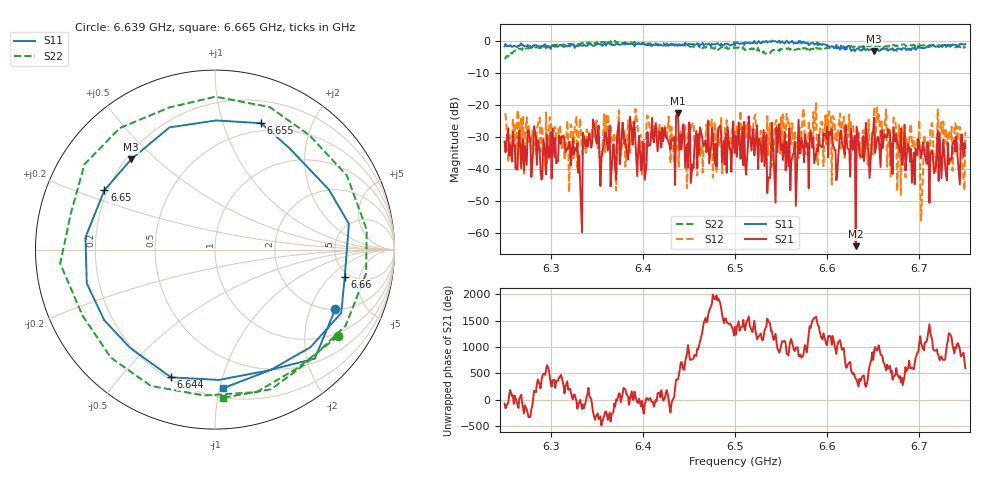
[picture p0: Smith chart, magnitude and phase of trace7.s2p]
# Hz S RI R 50
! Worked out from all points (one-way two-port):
!   401 points, 6.25 GHz to 6.75 GHz, reference 50 ohm
!   highest |S21| = -22.57 dB at 6.438 GHz (marker M1); lowest = -64.2 dB at 6.631 GHz (marker M2)
!   lowest |S11| = -3.3 dB at 6.651 GHz (marker M3), VSWR 5.38, Z = 11 + j20.9 ohm
!   |S11| at or under -10 dB: nowhere
!   |S22| runs from -5.6 to 0.1 dB; largest |S21 - S12| = 0.12
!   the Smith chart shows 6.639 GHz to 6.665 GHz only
!   S11 on the Smith chart (normalised r, x): 6.639 GHz: 2.00, -3.03; 6.644 GHz: 0.21, -0.69; 6.65 GHz: 0.19, +0.24; 6.655 GHz: 0.42, +1.34; 6.66 GHz: 4.55, -3.04; 6.665 GHz: 0.27, -1.02
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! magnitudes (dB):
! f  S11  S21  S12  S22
! 6.25 GHz  -1.7  -31.5  -22.7  -5.6
! 6.255 GHz  -1.6  -35.9  -34.6  -4.1
! 6.334 GHz  -1.5  -59.9  -35.5  -0.6
! 6.349 GHz  -1.1  -30.8  -25.7  -0.8
! 6.368 GHz  -1.2  -32.3  -30.4  -0.3
! 6.389 GHz  -0.9  -32.5  -31.1  -0.6
! 6.396 GHz  -0.8  -29.7  -30.0  -0.8
! 6.418 GHz  -1.1  -28.2  -25.9  -1.4
! 6.438 GHz  -1.5  -22.6  -30.4  -1.3
! 6.5 GHz  -1.3  -35.0  -27.8  -2.0
! 6.535 GHz  -0.5  -47.6  -23.5  -3.9
! 6.584 GHz  -0.5  -33.3  -33.4  -2.5
! 6.631 GHz  -2.8  -64.2  -40.0  -1.9
! 6.639 GHz  -2.5  -29.7  -27.9  -1.5
! 6.644 GHz  -2.5  -33.3  -38.8  -1.5
! 6.65 GHz  -3.1  -28.1  -35.5  -1.2
! 6.651 GHz  -3.3  -24.0  -20.7  -1.3
! 6.655 GHz  -2.5  -30.0  -25.1  -1.4
! 6.66 GHz  -2.6  -33.6  -29.2  -1.4
! 6.665 GHz  -2.2  -30.0  -39.4  -1.6
! 6.668 GHz  -2.6  -29.0  -27.3  -1.4
! 6.75 GHz  -0.9  -33.5  -28.5  -2.2
